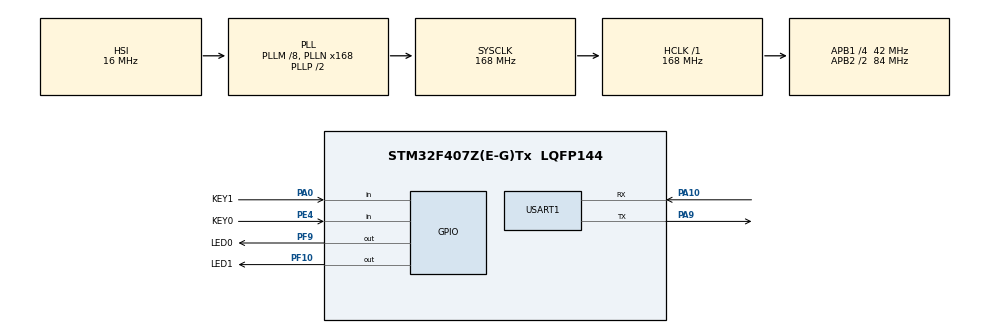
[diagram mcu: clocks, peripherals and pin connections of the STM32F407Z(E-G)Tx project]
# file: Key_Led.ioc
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FREERTOS.Tasks01=defaultTask,24,128,StartDefaultTask,Default,NULL,Dynamic,NULL,NULL
Mcu.Family=STM32F4
Mcu.Name=STM32F407Z(E-G)Tx
Mcu.Package=LQFP144
NVIC.PriorityGroup=NVIC_PRIORITYGROUP_4
NVIC.TIM8_TRG_COM_TIM14_IRQn=true\:15\:0\:false\:false\:true\:false\:false\:true\:true
NVIC.TimeBase=TIM8_TRG_COM_TIM14_IRQn
NVIC.TimeBaseIP=TIM14
PA0-WKUP.GPIO_Label=KEY1
PA0-WKUP.Signal=GPIO_Input
PA10.Mode=Asynchronous
PA10.Signal=USART1_RX
PA13.Mode=Serial_Wire
PA13.Signal=SYS_JTMS-SWDIO
PA14.Mode=Serial_Wire
PA14.Signal=SYS_JTCK-SWCLK
PA9.Mode=Asynchronous
PA9.Signal=USART1_TX
PC14-OSC32_IN.Mode=LSE-External-Oscillator
PC14-OSC32_IN.Signal=RCC_OSC32_IN
PC15-OSC32_OUT.Mode=LSE-External-Oscillator
PC15-OSC32_OUT.Signal=RCC_OSC32_OUT
PE4.GPIO_Label=KEY0
PE4.Signal=GPIO_Input
PF10.GPIO_Label=LED1
PF10.PinState=GPIO_PIN_SET
PF10.Signal=GPIO_Output
PF9.GPIO_Label=LED0
PF9.PinState=GPIO_PIN_SET
PF9.Signal=GPIO_Output
PH0-OSC_IN.Mode=HSE-External-Oscillator
PH0-OSC_IN.Signal=RCC_OSC_IN
PH1-OSC_OUT.Mode=HSE-External-Oscillator
PH1-OSC_OUT.Signal=RCC_OSC_OUT
ProjectManager.HeapSize=0x200
ProjectManager.StackSize=0x400
ProjectManager.TargetToolchain=MDK-ARM V5.32
RCC.48MHZClocksFreq_Value=84000000
RCC.AHBFreq_Value=168000000
RCC.APB1CLKDivider=RCC_HCLK_DIV4
RCC.APB1Freq_Value=42000000
RCC.APB1TimFreq_Value=84000000
RCC.APB2CLKDivider=RCC_HCLK_DIV2
RCC.APB2Freq_Value=84000000
RCC.APB2TimFreq_Value=168000000
RCC.CortexFreq_Value=168000000
RCC.HCLKFreq_Value=168000000
RCC.HSE_VALUE=25000000
RCC.HSI_VALUE=16000000
RCC.PLLM=8
RCC.PLLN=168
RCC.SYSCLKFreq_VALUE=168000000
RCC.SYSCLKSource=RCC_SYSCLKSOURCE_PLLCLK
RCC.VCOOutputFreq_Value=336000000
USART1.VirtualMode=VM_ASYNC
VP_FREERTOS_VS_CMSIS_V2.Mode=CMSIS_V2
VP_SYS_VS_tim14.Mode=TIM14
board=custom

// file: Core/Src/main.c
/* USER CODE BEGIN Header */
/**
  ******************************************************************************
  * @file           : main.c
  * @brief          : Main program body
  ******************************************************************************
  * @attention
  *
  * Copyright (c) 2024 STMicroelectronics.
  * All rights reserved.
  *
  * This software is licensed under terms that can be found in the LICENSE file
  * in the root directory of this software component.
  * If no LICENSE file comes with this software, it is provided AS-IS.
  *
  ******************************************************************************
  */
/* USER CODE END Header */
#include "main.h"
#include "cmsis_os.h"
#include "usart.h"
#include "gpio.h"

/* USER CODE BEGIN Includes */
#include <stdio.h>
#include "bsp_key.h"
#include "bsp_led.h"
/* USER CODE END Includes */

void SystemClock_Config(void);
void MX_FREERTOS_Init(void);
/* USER CODE BEGIN PFP */
#ifdef __GNUC__
     #define PUTCHAR_PROTOTYPE int _io_putchar(int ch)
#else
     #define PUTCHAR_PROTOTYPE int fputc(int ch, FILE *f)
#endif /* __GNUC__*/

/******************************************************************
*@brief  Retargets the C library printf  function to the USART.
*@param  None
*@retval None
 ******************************************************************/
PUTCHAR_PROTOTYPE
{
    HAL_UART_Transmit(&huart1, (uint8_t *)&ch,1,0xFFFF);
    return ch;
}
/* USER CODE END PFP */

int main(void)
{

    /* MCU Configuration--------------------------------------------------------*/

    /* Reset of all peripherals, Initializes the Flash interface and the Systick. */
    HAL_Init();

    /* Configure the system clock */
    SystemClock_Config();

    /* Initialize all configured peripherals */
    MX_GPIO_Init();
    MX_USART1_UART_Init();

    /* Init scheduler */
    osKernelInitialize();

    /* Call init function for freertos objects (in cmsis_os2.c) */
    MX_FREERTOS_Init();

    /* Start scheduler */
    osKernelStart();

    /* We should never get here as control is now taken by the scheduler */

    /* Infinite loop */
    while (1)
    {

    }
}

void SystemClock_Config(void)
{
    RCC_OscInitTypeDef RCC_OscInitStruct = {0};
    RCC_ClkInitTypeDef RCC_ClkInitStruct = {0};

    /** Configure the main internal regulator output voltage
    */
    __HAL_RCC_PWR_CLK_ENABLE();
    __HAL_PWR_VOLTAGESCALING_CONFIG(PWR_REGULATOR_VOLTAGE_SCALE1);

    /** Initializes the RCC Oscillators according to the specified parameters
    * in the RCC_OscInitTypeDef structure.
    */
    RCC_OscInitStruct.OscillatorType = RCC_OSCILLATORTYPE_HSI;
    RCC_OscInitStruct.HSIState = RCC_HSI_ON;
    RCC_OscInitStruct.HSICalibrationValue = RCC_HSICALIBRATION_DEFAULT;
    RCC_OscInitStruct.PLL.PLLState = RCC_PLL_ON;
    RCC_OscInitStruct.PLL.PLLSource = RCC_PLLSOURCE_HSI;
    RCC_OscInitStruct.PLL.PLLM = 8;
    RCC_OscInitStruct.PLL.PLLN = 168;
    RCC_OscInitStruct.PLL.PLLP = RCC_PLLP_DIV2;
    RCC_OscInitStruct.PLL.PLLQ = 4;
    if (HAL_RCC_OscConfig(&RCC_OscInitStruct) != HAL_OK)
    {
        Error_Handler();
    }

    /** Initializes the CPU, AHB and APB buses clocks
    */
    RCC_ClkInitStruct.ClockType = RCC_CLOCKTYPE_HCLK|RCC_CLOCKTYPE_SYSCLK
                                 |RCC_CLOCKTYPE_PCLK1|RCC_CLOCKTYPE_PCLK2;
    RCC_ClkInitStruct.SYSCLKSource = RCC_SYSCLKSOURCE_PLLCLK;
    RCC_ClkInitStruct.AHBCLKDivider = RCC_SYSCLK_DIV1;
    RCC_ClkInitStruct.APB1CLKDivider = RCC_HCLK_DIV4;
    RCC_ClkInitStruct.APB2CLKDivider = RCC_HCLK_DIV2;

    if (HAL_RCC_ClockConfig(&RCC_ClkInitStruct, FLASH_LATENCY_5) != HAL_OK)
    {
        Error_Handler();
    }
}

void HAL_TIM_PeriodElapsedCallback(TIM_HandleTypeDef *htim)
{
    if (htim->Instance == TIM14) {
        HAL_IncTick();
    }
}

void Error_Handler(void)
{
      __disable_irq();
      while (1)
      {
      }
}

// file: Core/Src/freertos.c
/* USER CODE BEGIN Header */
/**
  ******************************************************************************
  * File Name          : freertos.c
  * Description        : Code for freertos applications
  ******************************************************************************
  * @attention
  *
  * Copyright (c) 2024 STMicroelectronics.
  * All rights reserved.
  *
  * This software is licensed under terms that can be found in the LICENSE file
  * in the root directory of this software component.
  * If no LICENSE file comes with this software, it is provided AS-IS.
  *
  ******************************************************************************
  */
/* USER CODE END Header */

#include "FreeRTOS.h"
#include "task.h"
#include "main.h"
#include "cmsis_os.h"

/* USER CODE BEGIN Includes */
#include <stdio.h>
#include "bsp_key.h"
#include "bsp_led.h"
/* USER CODE END Includes */

/* Definitions for defaultTask */
osThreadId_t defaultTaskHandle;
const osThreadAttr_t defaultTask_attributes = {
    .name = "defaultTask",
    .stack_size = 128 * 4,
    .priority = (osPriority_t) osPriorityNormal,
};

void StartDefaultTask(void *argument);

void MX_FREERTOS_Init(void); /* (MISRA C 2004 rule 8.1) */

void MX_FREERTOS_Init(void) {

    /* Create the thread(s) */
    /* creation of defaultTask */
    defaultTaskHandle = osThreadNew(StartDefaultTask, NULL, &defaultTask_attributes);

    key_TaskHandle = osThreadNew(key_task_func, NULL, &key_Task_attributes);
    led_TaskHandle = osThreadNew(led_task_func, NULL, &led_Task_attributes);

}

void StartDefaultTask(void *argument)
{
    /* USER CODE BEGIN StartDefaultTask */
    uint32_t       received_value =      0;
    led_operation_t led_ops_value = LED_ON;
    /* Infinite loop */
    for(;;)
    {
        if(key_queue != 0)
        {
            if (xQueueReceive(key_queue, &(received_value), (TickType_t) 100))
            {
                printf("receive key value: [%d]\r\n", received_value);
                led_ops_value = LED_TOGGLE;
                if(pdTRUE == xQueueSendToFront(led_queue, &led_ops_value,  0))
                {
                    printf("send led successfully\r\n");
                }
            }
        }
        osDelay(1);
    }
    /* USER CODE END StartDefaultTask */
}
